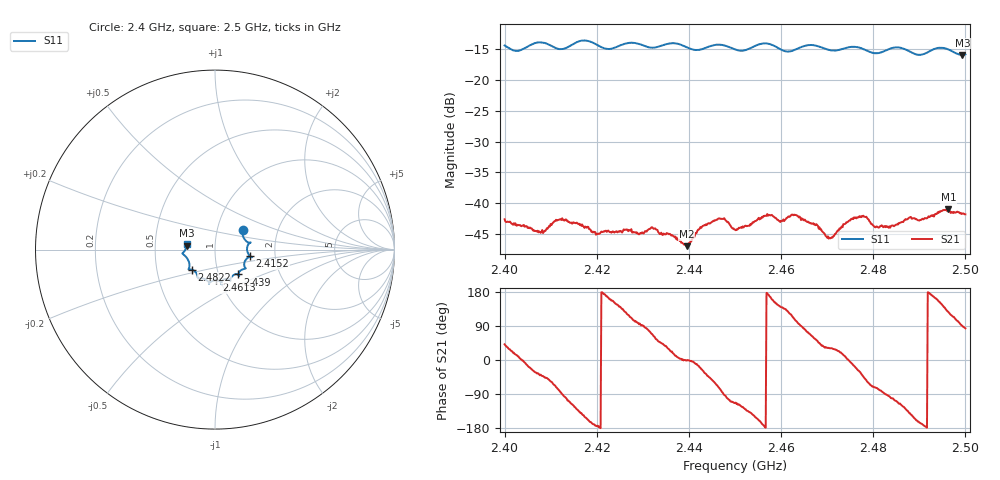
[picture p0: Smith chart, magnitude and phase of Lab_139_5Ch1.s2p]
# Hz S RI R 50
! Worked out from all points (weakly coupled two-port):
!   601 points, 2.4 GHz to 2.5 GHz, reference 50 ohm
!   highest |S21| = -41.03 dB at 2.4963 GHz (marker M1); lowest = -47.0 dB at 2.4395 GHz (marker M2)
!   lowest |S11| = -15.9 dB at 2.4993 GHz (marker M3), VSWR 1.38, Z = 36.3 + j1.62 ohm
!   |S11| at or under -10 dB: start of sweep to end of sweep
!   S12 and S22 are empty: the file has one direction only
!   S11 on the Smith chart (normalised r, x): 2.4 GHz: 1.33, +0.31; 2.4152 GHz: 1.48, -0.11; 2.439 GHz: 1.24, -0.36; 2.4613 GHz: 0.96, -0.34; 2.4822 GHz: 0.76, -0.17; 2.5 GHz: 0.73, +0.05
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2.4e9  0.155 0.1118  0.00555 0.00489  0 0  0 0
2.402833e9  0.1597 0.0652  0.00657 0.00117  0 0  0 0
2.407833e9  0.1985 0.0399  0.00448 -0.00359  0 0  0 0
2.411667e9  0.179 0.0111  0.00154 -0.00714  0 0  0 0
2.415167e9  0.1953 -0.0367  -0.00386 -0.00573  0 0  0 0
2.416667e9  0.2047 -0.0427  -0.00503 -0.00418  0 0  0 0
2.420333e9  0.1858 -0.0439  -0.00564 -0.000371  0 0  0 0
2.433333e9  0.1321 -0.132  0.00379 0.00442  0 0  0 0
2.439e9  0.1283 -0.1384  0.00458 8.13e-06  0 0  0 0
2.4395e9  0.1243 -0.1371  0.00447 -0.000119  0 0  0 0
2.446167e9  0.0858 -0.1739  0.00283 -0.00678  0 0  0 0
2.45e9  0.0686 -0.1639  -0.00243 -0.00558  0 0  0 0
2.456667e9  0.0391 -0.195  -0.00789 -0.000174  0 0  0 0
2.461333e9  0.00748 -0.1704  -0.00489 0.00581  0 0  0 0
2.466667e9  -0.0334 -0.1898  0.00303 0.00609  0 0  0 0
2.4705e9  -0.0477 -0.1689  0.00448 0.00271  0 0  0 0
2.477333e9  -0.0956 -0.1548  0.00628 -0.00443  0 0  0 0
2.482167e9  -0.1283 -0.1121  0.000446 -0.00635  0 0  0 0
2.483333e9  -0.1398 -0.1106  -0.000574 -0.00629  0 0  0 0
2.496333e9  -0.1766 -0.0161  -0.00524 0.00717  0 0  0 0
2.499333e9  -0.1585 0.0218  2.28e-05 0.00823  0 0  0 0
2.5e9  -0.1582 0.0338  0.000917 0.00806  0 0  0 0
